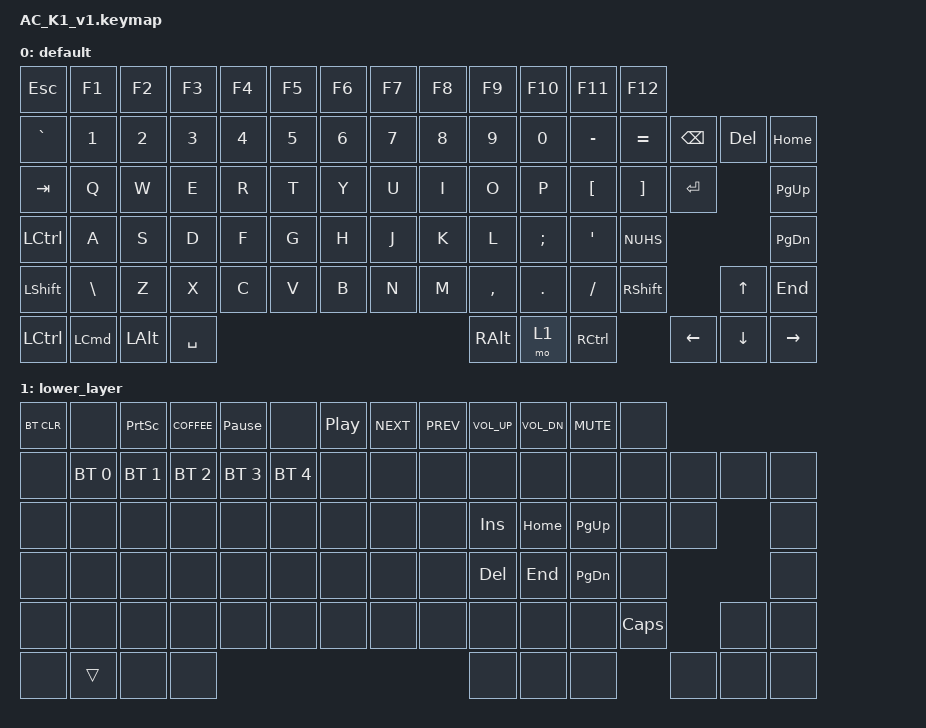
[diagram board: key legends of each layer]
/ {
	keymap {
		compatible = "zmk,keymap";
		default {
			// ┌───┐ ┌───┬───┬───┬───┐┌───┬───┬───┬───┐┌───┬───┬───┬───┐
			// │ESC│ │F1 │F2 │F3 │F4 ││F5 │F6 │F7 │F8 ││F9 │F10│F11│F12│
			// ├───┼─┴─┬─┴─┬─┴─┬─┴─┬─┴┴┬──┴┬──┴┬──┴┬──┴┼───┼───┼───┼───┼───┬───┐
			// │ ^ │ 1 │ 2 │ 3 │ 4 │ 5 │ 6 │ 7 │ 8 │ 9 │ 0 │ ß │ ´ │ ← │DEL│POS│
			// ├───┴─┬─┴─┬─┴─┬─┴─┬─┴─┬─┴─┬─┴─┬─┴─┬─┴─┬─┴─┬─┴─┬─┴─┬─┴─┬─┴───┼───┤
			// │ TAB │ Q │ W │ E │ R │ T │ Z │ U │ I │ O │ P │ Ü │ + │ENTER│PGU│
			// ├─────┴┬──┴┬──┴┬──┴┬──┴┬──┴┬──┴┬──┴┬──┴┬──┴┬──┴┬──┴┬──┴┐    ├───┤
			// │LCTRL │ A │ S │ D │ F │ G │ H │ J │ K │ L │ Ö │ Ä │ # │    │PGD│
			// ├────┬─┴─┬─┴─┬─┴─┬─┴─┬─┴─┬─┴─┬─┴─┬─┴─┬─┴─┬─┴─┬─┴─┬─┴───┴┬───┼───┤
			// │SHIF│ < │ Y │ X │ C │ V │ B │ N │ M │ , │ . │ - │RSHIFT│ ↑ │END│
			// ├────┼───┴┬──┴─┬─┴───┴───┴───┴───┴───┼───┴┬──┴─┬─┴──┬───┼───┼───┤
			// │LCTR│ OS │ALT │        SPACE        │ALTG│ Fn │RCTR│ ← │ ↓ │ → │
			// └────┴────┴────┴─────────────────────┴────┴────┴────┴───┴───┴───┘
			bindings = <
				&kp ESC    &kp F1    &kp F2    &kp F3     &kp F4  &kp F5  &kp F6  &kp F7  &kp F8  &kp F9     &kp F10   &kp F11    &kp F12
				&kp GRAVE  &kp N1    &kp N2    &kp N3     &kp N4  &kp N5  &kp N6  &kp N7  &kp N8  &kp N9     &kp N0    &kp MINUS  &kp EQUAL  &kp BSPC   &kp DEL   &kp HOME
				&kp TAB    &kp Q     &kp W     &kp E      &kp R   &kp T   &kp Y   &kp U   &kp I   &kp O      &kp P     &kp LBKT   &kp RBKT   &kp ENTER            &kp PG_UP
				&kp LCTRL  &kp A     &kp S     &kp D      &kp F   &kp G   &kp H   &kp J   &kp K   &kp L      &kp SEMI  &kp APOS   &kp NUHS                        &kp PG_DN
				&kp LSHFT  &kp BSLH  &kp Z     &kp X      &kp C   &kp V   &kp B   &kp N   &kp M   &kp COMMA  &kp DOT   &kp FSLH   &kp RSHFT             &kp UP    &kp END
				&kp LCTRL  &kp LCMD  &kp LALT  &kp SPACE                                          &kp RALT   &mo 1     &kp RCTRL             &kp LEFT   &kp DOWN  &kp RIGHT
			>;
		};

		lower_layer {
			// ┌───┐ ┌───┬───┬───┬───┐┌───┬───┬───┬───┐┌───┬───┬───┬───┐
			// │BTC│ │   │PRT│SCR│BRE││   │PLA│PRE│NEX││VO+│VO-│MUT│   │
			// ├───┼─┴─┬─┴─┬─┴─┬─┴─┬─┴┴┬──┴┬──┴┬──┴┬──┴┼───┼───┼───┼───┼───┬───┐
			// │   │BT0│BT1│BT2│BT3│BT5│   │   │   │   │   │   │   │   │   │   │
			// ├───┴─┬─┴─┬─┴─┬─┴─┬─┴─┬─┴─┬─┴─┬─┴─┬─┴─┬─┴─┬─┴─┬─┴─┬─┴─┬─┴───┼───┤
			// │     │   │   │   │   │   │   │   │   │INS│POS│PGU│   │     │   │
			// ├─────┴┬──┴┬──┴┬──┴┬──┴┬──┴┬──┴┬──┴┬──┴┬──┴┬──┴┬──┴┬──┴┐    ├───┤
			// │      │   │   │   │   │   │   │   │   │DEL│END│PGD│   │    │   │
			// ├────┬─┴─┬─┴─┬─┴─┬─┴─┬─┴─┬─┴─┬─┴─┬─┴─┬─┴─┬─┴─┬─┴─┬─┴───┴┬───┼───┤
			// │    │   │   │   │   │   │   │   │   │   │   │   │SFTLCK│   │   │
			// ├────┼───┴┬──┴─┬─┴───┴───┴───┴───┴───┼───┴┬──┴─┬─┴──┬───┼───┼───┤
			// │    │    │    │                     │    │    │    │   │   │   │
			// └────┴────┴────┴─────────────────────┴────┴────┴────┴───┴───┴───┘
			bindings = <
				&bt BT_CLR                &none         &kp PSCRN     &kp K_COFFEE  &kp PAUSE_BREAK  &none  &kp C_PP  &kp C_NEXT  &kp C_PREV  &kp C_VOL_UP  &kp C_VOL_DN  &kp C_MUTE  &none
				&none       &bt BT_SEL 0  &bt BT_SEL 1  &bt BT_SEL 2  &bt BT_SEL 3  &bt BT_SEL 4     &none  &none     &none       &none       &none         &none         &none       &none  &none  &none
				&none       &none         &none         &none         &none         &none            &none  &none     &none       &kp INS     &kp HOME      &kp PG_UP     &none       &none         &none
				&none       &none         &none         &none         &none         &none            &none  &none     &none       &kp DEL     &kp END       &kp PG_DN     &none                     &none
				&none       &none         &none         &none         &none         &none            &none  &none     &none       &none       &none         &none         &kp CAPS           &none  &none
				&none       &trans        &none         &none                                                                     &none       &none         &none                     &none  &none  &none
			>;
		};
	}
};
